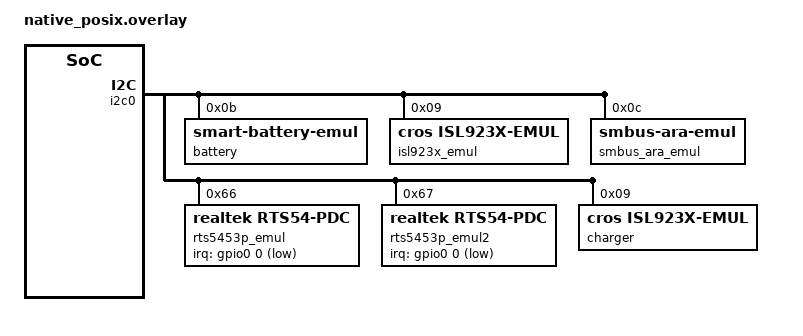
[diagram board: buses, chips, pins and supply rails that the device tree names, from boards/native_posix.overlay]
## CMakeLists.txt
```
# Copyright 2024 The ChromiumOS Authors
# Use of this source code is governed by a BSD-style license that can be
# found in the LICENSE file.

cmake_minimum_required(VERSION 3.13.1)
find_package(Zephyr REQUIRED HINTS "${ZEPHYR_BASE}")
project(pdc)

# Include FFF fakes
add_subdirectory(${PLATFORM_EC}/zephyr/test/test_utils test_utils)

zephyr_include_directories(include)

target_sources(app PRIVATE src/main.c)
target_sources(app PRIVATE src/fakes.c)

target_sources_ifdef(CONFIG_TEST_PDC_MESSAGE_TRACING  app PRIVATE
	src/util_pcap.c
	src/pdc_trace_msg.c)

if (DEFINED CONFIG_TEST_SUITE_PDC_API)
	target_sources(app PRIVATE src/generic/pdc_api.c)
endif()

if (DEFINED CONFIG_TEST_SUITE_PDC_GENERIC)
	target_sources(app PRIVATE src/generic/pdc_attached_snk.c)
	target_sources(app PRIVATE src/generic/pdc_power_mgmt_api.c)
	target_sources(app PRIVATE src/generic/pdc_pmc_debug_api.c)
	target_sources_ifdef(CONFIG_PDC_RUNTIME_PORT_CONFIG
		app PRIVATE src/board_runtime_config.c)
endif()

if (DEFINED CONFIG_TEST_SUITE_PDC_UTILS)
	target_sources(app PRIVATE src/generic/usb_utils.c)
endif()

if (DEFINED CONFIG_TEST_SUITE_PDC_POLICY)
	target_sources(app PRIVATE src/pdc_policy/src_policy.c)
	target_sources(app PRIVATE src/pdc_policy/non_pd_policy.c)
	target_sources(app PRIVATE src/pdc_policy/select_best_pdo.c)
endif()

if (DEFINED CONFIG_TEST_SUITE_PDC_POLICY_SINK)
	target_sources(app PRIVATE src/pdc_policy/sink_policy.c)
endif()

if (DEFINED CONFIG_TEST_SUITE_PDC_BATTERY_STATUS)
	target_sources(app PRIVATE src/generic/pdc_battery_status.c)
endif()

if (DEFINED CONFIG_TEST_PDC_POLICY_DEAD_BATTERY_TWO_CHARGERS)
	target_sources(app PRIVATE src/pdc_policy/dead_battery_policy.c)
	target_sources(app PRIVATE src/pdc_policy/dead_battery_two_chargers.c)
endif()

if (DEFINED CONFIG_TEST_PDC_POLICY_DEAD_BATTERY_AC_ONLY_AP_ON)
	target_sources(app PRIVATE src/pdc_policy/dead_battery_policy.c)
	target_sources(app PRIVATE src/pdc_policy/dead_battery_ac_only_ap_on.c)
endif()

if (DEFINED CONFIG_TEST_PDC_POLICY_DEAD_BATTERY_AC_ONLY_AP_OFF)
	target_sources(app PRIVATE src/pdc_policy/dead_battery_policy.c)
	target_sources(app PRIVATE src/pdc_policy/dead_battery_ac_only_ap_off.c)
endif()

if (DEFINED CONFIG_TEST_SUITE_PDC_POLICY_CLAMPED)
	target_sources(app PRIVATE src/pdc_policy/select_best_pdo_clamped.c)
endif()

if (DEFINED CONFIG_TEST_SUITE_PDC_POLICY_VARIABLE)
	target_sources(app PRIVATE src/pdc_policy/select_best_pdo_variable.c)
endif()

if (DEFINED CONFIG_TEST_SUITE_PDC_API_NULL_CHECK)
	target_sources(app PRIVATE src/generic/pdc_null_api.c)
endif()

if (DEFINED CONFIG_TEST_SUITE_PDC_DEVICE_NOT_READY)
	target_sources(app PRIVATE src/generic/device_not_ready.c)
endif()

if (DEFINED CONFIG_TEST_SUITE_PDC_RTS54XX)
	target_sources(app PRIVATE src/rts54xx/rts54xx.c)
endif()

if (DEFINED CONFIG_TEST_SUITE_PDC_TPS6699X)
	zephyr_include_directories(${PLATFORM_EC}/zephyr/drivers/usbc)
	target_sources(app PRIVATE src/tps6699x/tps6699x.c)
endif()

if (DEFINED CONFIG_TEST_SUITE_PDC_RETIMER_FW_UPDATE)
	target_sources(app PRIVATE src/generic/retimer_fw_update.c)
endif()

if (DEFINED CONFIG_TEST_SUITE_PDC_CONSOLE)
	target_sources(app PRIVATE src/generic/pdc_console.c)
	target_sources(app PRIVATE src/mock_pdc_power_mgmt.c)
endif()

if (DEFINED CONFIG_TEST_SUITE_PDC_HOSTCMD)
	target_sources(app PRIVATE src/generic/pdc_host_cmd.c)
	target_sources(app PRIVATE src/mock_pdc_power_mgmt.c)
endif()

if (DEFINED CONFIG_TEST_SUITE_UCSI_HOSTCMD)
	target_sources(app PRIVATE src/generic/ucsi_host_cmd.c)
	target_sources(app PRIVATE ${PLATFORM_EC}/zephyr/subsys/ucsi/ucsi_host_cmd.c)
endif()

if (DEFINED CONFIG_TEST_SUITE_PPM)
	zephyr_include_directories(${PLATFORM_EC}/zephyr/subsys/ucsi)
	target_sources(app PRIVATE src/generic/ppm.c)
	target_sources_ifdef(CONFIG_PDC_RUNTIME_PORT_CONFIG
		app PRIVATE src/board_runtime_config.c)
endif()

if (DEFINED CONFIG_TEST_SUITE_PPM_CONSOLE)
	target_sources(app PRIVATE ${PLATFORM_EC}/zephyr/subsys/ucsi/ppm_console.c)
	target_sources(app PRIVATE src/generic/ppm_console.c)
endif()

if (DEFINED CONFIG_TEST_SUITE_PDC_PMC_USB_MUX)
	target_sources(app PRIVATE src/generic/pdc_pmc_usb_mux.c)
endif()

if (DEFINED CONFIG_TEST_SUITE_PPM_DRIVER)
	target_sources(app PRIVATE src/generic/ppm_driver.c)
	target_sources(app PRIVATE ${PLATFORM_EC}/zephyr/subsys/ucsi/ppm_driver.c)
endif()

if (DEFINED CONFIG_TEST_SUITE_PDC_UCSI)
	target_sources(app PRIVATE src/ucsi/ucsi.c)
endif()

if (DEFINED CONFIG_TEST_SUITE_PPM_STATE_MACHINE)
	target_sources(app PRIVATE src/generic/ppm_state_machine.c)

	zephyr_include_directories(${PLATFORM_EC}/zephyr/subsys/ucsi)
	target_sources(app PRIVATE ${PLATFORM_EC}/zephyr/subsys/ucsi/ppm_common.c)
endif()

if (DEFINED CONFIG_TEST_SUITE_PDC_TRACE_MSG)
	target_sources(app PRIVATE src/generic/pdc_trace_msg.c)
endif()

if (DEFINED CONFIG_TEST_SUITE_PDC_RUNTIME_PORT_CONFIG)
	target_sources_ifdef(CONFIG_TEST_PDC_RUNTIME_CONFIG_SCENARIO_NO_PDCS
		app PRIVATE src/runtime_config/no_pdcs.c)
	target_sources_ifdef(CONFIG_TEST_PDC_RUNTIME_CONFIG_SCENARIO_ONE_PDC
		app PRIVATE src/runtime_config/one_pdc.c)
	target_sources_ifdef(CONFIG_TEST_PDC_RUNTIME_CONFIG_SCENARIO_DISCONT
		app PRIVATE src/runtime_config/discontiguous.c)
	target_sources_ifdef(CONFIG_TEST_PDC_RUNTIME_CONFIG_SCENARIO_TWO_PDCS
		app PRIVATE src/runtime_config/two_pdcs.c)
endif()
```

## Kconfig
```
# Copyright 2024 The ChromiumOS Authors
# Use of this source code is governed by a BSD-style license that can be
# found in the LICENSE file.

config TEST_SUITE_PDC_API
	bool "Enable generic PDC driver API tests"

config TEST_SUITE_PDC_GENERIC
	bool "Enable generic pdc_power_mgmt tests"

config TEST_SUITE_PDC_UTILS
	bool "Enable PDC utility tests"

config TEST_SUITE_PDC_API_NULL_CHECK
	bool "Enable PDC API null-protection checks"

config TEST_SUITE_PDC_DEVICE_NOT_READY
	bool "Enable PDC subsystem tests for device-not-ready"

config TEST_SUITE_PDC_POLICY
	bool "Enable PDC policy tests"

config TEST_SUITE_PDC_POLICY_SINK
	bool "Enable PDC policy sink tests"

config TEST_SUITE_PDC_BATTERY_STATUS
  bool "Enable PDC battery status tests"

config TEST_SUITE_PDC_POLICY_DEAD_BATTERY
	bool "Enable PDC Dead Battery policy tests"

config TEST_PDC_POLICY_DEAD_BATTERY_TWO_CHARGERS
	select TEST_SUITE_PDC_POLICY_DEAD_BATTERY
	bool "Validate dead battery with two connected chargers"

config TEST_PDC_POLICY_DEAD_BATTERY_AC_ONLY_AP_ON
	select TEST_SUITE_PDC_POLICY_DEAD_BATTERY
	bool "Validate dead battery with AC connected, no battery, and AP on"

config TEST_PDC_POLICY_DEAD_BATTERY_AC_ONLY_AP_OFF
	select TEST_SUITE_PDC_POLICY_DEAD_BATTERY
	bool "Validate dead battery with AC connected, no battery, and AP off"

config TEST_SUITE_PDC_POLICY_CLAMPED
	bool "Enable PDC policy tests with clamped power"

config TEST_SUITE_PDC_POLICY_VARIABLE
	bool "Enable PDC policy tests to verify variabled PDOs"

config TEST_SUITE_PDC_PMC_USB_MUX
	bool "Enable PDC PMC USB mux tests"

config TEST_SUITE_PDC_RTS54XX
	bool "Enable RTS54xx PDC tests"

config TEST_SUITE_PDC_TPS6699X
	bool "Enable TPS6699x PDC tests"

config TODO_B_345292002
	bool "Disable tests that fail for TPS6699x PDC config"
	help
	  Enable this config for pdc.generic.tps6699x to disable tests that
	  currently fail. As b/345292002 progresses, the amount of code
	  protected by this config should go down.

config TEST_SUITE_PDC_RETIMER_FW_UPDATE
	bool "Enable retimer FW update tests"

config TEST_SUITE_PDC_CONSOLE
	bool "Enable pdc console command tests"

config TEST_SUITE_PDC_HOSTCMD
	bool "Enable PDC host command tests"

config TEST_SUITE_UCSI_HOSTCMD
	bool "Enable UCSI host command tests"

config TEST_SUITE_PPM
	bool "Enable UCSI PPM tests"
	help
	  Enable tests for the PPM of the UCSI. This suite tests our PPM from
	  the perspective of the UCSI spec. All layers use the actual code
	  (ppm_common, ppm_driver, pdc_driver) and mocking is discouraged.
	  Inputs to the tests are controlled through a PDC emulator.

config TEST_SUITE_PPM_CONSOLE
	bool "Enable tests for the `ppm` console command"
	help
	  Run a test suite covering the `ppm` console command, which sends
	  various UCSI commands from the EC console for testing and debugging
	  purposes.

config TEST_SUITE_PPM_DRIVER
	bool "Enable PPM driver tests"
	help
	  Enable tests for the lower layer (ppm_driver) of the PPM. This suite
	  exercises the behaviors specific to the implementation. Mocking the
	  upper layer (ppm_common) and lower layer (pdc driver) is used to cover
	  corner cases.

config TEST_SUITE_PDC_UCSI
	bool "Enable UCSI tests"

config TEST_SUITE_PPM_STATE_MACHINE
	bool "Enable PPM state machine tests"
	help
	  Enable tests for the state machine (ppm_common) of the PPM.

config TEST_PDC_MESSAGE_TRACING
	bool "Enable PDC message tracing"
	help
	  Capture PDC messages between the EC and the PDC chip. These
	  can be standard UCSI messages or vendor specific messages such
	  as those defined for the rts54xx chip. Message data is
	  reported in the test run logs and in a separate "rts.pcap"
	  file in PCAP capture file format.

config TEST_SUITE_PDC_TRACE_MSG
	bool "Enable PDC message tracing tests"
	depends on !TEST_PDC_MESSAGE_TRACING
	help
	  No help.

	  These tests are incompatible with TEST_PDC_MESSAGE_TRACING
	  since that config enables an alternate implementation of the
	  code to be tested here.

config TEST_DISABLE_INLINE_CHIPSET_IN_STATE
	bool "Disable chipset_in_state inline method"
	help
	  This is used to not define chipset_in_state method as inline
	  function.

config TEST_SUITE_PDC_RUNTIME_PORT_CONFIG
	bool "Enable PDC runtime port config tests"
	help
	  Run tests for the runtime USB-C port configuration feature

config TEST_SKIP_EC_APP_MAIN
	bool "Skip running ec_app_main()"
	help
	  Some tests intentionally create errors, like incorrect
	  initialization order, and verify the error handling paths.
	  The ec_app_main() is broken in these cases.

choice TEST_PDC_RUNTIME_CONFIG_SCENARIO
	prompt "Select a PDC topology to set up at runtime"
	depends on TEST_SUITE_PDC_RUNTIME_PORT_CONFIG

config TEST_PDC_RUNTIME_CONFIG_SCENARIO_NO_PDCS
	bool "Cause an error while reading board PDC config"
	help
	  Return an error from `board_get_pdc_for_port()`, causing no PDCs to be
	  initialized.

config TEST_PDC_RUNTIME_CONFIG_SCENARIO_ONE_PDC
	bool "Enable C0 but not C1"
	help
	  Activate one of two ports from `board_get_pdc_for_port()`

config TEST_PDC_RUNTIME_CONFIG_SCENARIO_DISCONT
	bool "Disable C0 but enable C1"
	help
	  Activate only the second port from `board_get_pdc_for_port()`

config TEST_PDC_RUNTIME_CONFIG_SCENARIO_TWO_PDCS
	bool "Enable C0 and enable C1"
	help
	  Activate both ports from `board_get_pdc_for_port()`

endchoice

config TEST_PDC_DISABLE_C1
	bool "Don't initialize port C1"
	depends on PDC_RUNTIME_PORT_CONFIG
	help
	  Use this when testing runtime port configuration to enable only one
	  of the two PDC ports.

config TEST_SNIFF_POWER_MGMT_PDC_APIS
	bool "Enable PDC sniffing APIs in pdc_power_mgmt for tests"
	help
	  This is used to allow tests to create sniffing PDC APIs in
	  pdc_power_mgmt.c that can be mocked in tests.

source "Kconfig.zephyr"
```

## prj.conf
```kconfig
# Copyright 2024 The ChromiumOS Authors
# Use of this source code is governed by a BSD-style license that can be
# found in the LICENSE file.

CONFIG_ZTEST=y

# Basic EC functions
CONFIG_SHIMMED_TASKS=y
CONFIG_CROS_EC=y
CONFIG_PLATFORM_EC=y
CONFIG_PLATFORM_EC_HOOKS=y
CONFIG_PLATFORM_EC_HOSTCMD=y

# Disable CONFIG_PLATFORM_EC_DEBUG_ASSERT to avoid
# assert_post_action conflict
CONFIG_PLATFORM_EC_DEBUG_ASSERT=n

# Console
CONFIG_SHELL_BACKEND_DUMMY=y
CONFIG_SHELL_BACKEND_DUMMY_BUF_SIZE=1000
CONFIG_SHELL_BACKEND_SERIAL=n
CONFIG_SERIAL=y
CONFIG_RING_BUFFER=y

# Logging is configured to send output to the shell, disable
# the UART backed to prevent duplicate messages in the output.
CONFIG_LOG_BACKEND_UART=n

# Emulated PDC
CONFIG_EMUL=y

# Disable BC1.2
CONFIG_PLATFORM_EC_USB_CHARGER=n

CONFIG_PLATFORM_EC_CHARGER=y
CONFIG_PLATFORM_EC_CHARGER_SENSE_RESISTOR=10
CONFIG_PLATFORM_EC_CHARGER_SENSE_RESISTOR_AC=10
CONFIG_PLATFORM_EC_CHARGER_ISL9238=y

# Turn off other unneeded features
CONFIG_PLATFORM_EC_BACKLIGHT_LID=n
CONFIG_PLATFORM_EC_VBOOT_HASH=n
CONFIG_PLATFORM_EC_SWITCH=n
CONFIG_PLATFORM_EC_USBC_SS_MUX=n

# Disable [TCPMv2] Power Delivery Function
CONFIG_PLATFORM_EC_USB_POWER_DELIVERY=n
CONFIG_PLATFORM_EC_USBC_PPC=n
CONFIG_PLATFORM_EC_USB_PD_PPC=n
CONFIG_PLATFORM_EC_HOSTCMD_PD_CONTROL=n
CONFIG_PLATFORM_EC_HOSTCMD_RWHASHPD=n

# Disable typec host commands until a PDC counterpart exists.
CONFIG_PLATFORM_EC_HOSTCMD_TYPEC_DISCOVERY=n
CONFIG_PLATFORM_EC_HOSTCMD_TYPEC_CONTROL=n
CONFIG_PLATFORM_EC_HOSTCMD_TYPEC_STATUS=n
CONFIG_PLATFORM_EC_HOSTCMD_PD_CHIP_INFO=n

# Use PD Controller
CONFIG_PLATFORM_EC_USBC=y
CONFIG_PLATFORM_EC_USB_PD_CONTROLLER=y
CONFIG_PLATFORM_EC_USB_PD_VBUS_MEASURE_NOT_PRESENT=y
CONFIG_PLATFORM_EC_USB_PD_DISCHARGE=n

# Test PDC-driven CCD
CONFIG_USBC_PDC_DRIVEN_CCD=y

# Allow more time in unit tests for the PDC Power Mgmt state machine to reach
# a steady state. TODO(b/372259212): Investigate what's holding up the sequence
CONFIG_PDC_POWER_MGMT_STATE_MACHINE_SETTLED_TIMEOUT_MS=2500

# Charger
CONFIG_PLATFORM_EC_BATTERY_FUEL_GAUGE=y
CONFIG_PLATFORM_EC_CHARGER_ISL9238=y
CONFIG_PLATFORM_EC_CHARGER_SENSE_RESISTOR=10
CONFIG_PLATFORM_EC_CHARGER_SENSE_RESISTOR_AC=20
CONFIG_PLATFORM_EC_CHARGER_MIN_POWER_MW_FOR_POWER_ON=30000
CONFIG_PLATFORM_EC_CHARGER_MIN_POWER_MW_FOR_POWER_ON_WITH_BATT=15000

CONFIG_USB_PDC_POWER_MGMT=y

# Print logs from Zephyr LOG_MODULE to stdout
CONFIG_NATIVE_UART_0_ON_STDINOUT=y
CONFIG_LOG_BACKEND_SHOW_COLOR=n

CONFIG_PLATFORM_EC_USB_PD_VBUS_MEASURE_NOT_PRESENT=y
CONFIG_PDC_POWER_MGMT_SRC_PDO_PEAK_OCP_150=y
```

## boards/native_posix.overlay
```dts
/* Copyright 2024 The ChromiumOS Authors
 * Use of this source code is governed by a BSD-style license that can be
 * found in the LICENSE file.
 */

#include <board-overlays/native_posix.dts>
#include <it8xxx2_emul.dts>
#include <usbc-policy.dtsi>

/ {
	usbc {
		#address-cells = <1>;
		#size-cells = <0>;

		/* Configure just the DB port
		 */
		port0@0 {
			compatible = "named-pdc-port";
			reg = <0>;
			chg = <&charger>;
			pdc = <&rts5453p_emul>;
			chg = <&isl923x_emul>;
			policy = <&cros_policy>;
			pd-retimer;
			usb-mux-chain-0 {
				compatible = "cros-ec,usb-mux-chain";
				usb-muxes = <&virtual_mux_0>;
			};
		};

		port0-muxes {
			virtual_mux_0: virtual-mux-0 {
				compatible = "cros-ec,usbc-mux-virtual";
			};
		};

		port1@0 {
			compatible = "named-pdc-port";
			reg = <1>;
			pdc = <&rts5453p_emul2>;
			policy = <&cros_policy>;
			pd-retimer;
			usb-mux-chain-1 {
				compatible = "cros-ec,usb-mux-chain";
				usb-muxes = <&virtual_mux_1>;
			};
		};

		port1-muxes {
			virtual_mux_1: virtual-mux-1 {
				compatible = "cros-ec,usbc-mux-virtual";
			};
		};
	};

	batteries {
		default_battery: lgc_ac17a8m {
			compatible = "lgc,ac17a8m", "battery-smart";
		};
	};

	named-i2c-ports {
		compatible = "named-i2c-ports";

		i2c_ec_i2c_usb_c0: ec_i2c_usb_c0 {
			i2c-port = <&i2c0>;
			enum-names = "I2C_PORT_USB_C0_TCPC";
		};

		i2c_ec_i2c_charger: ec_i2c_charger {
			i2c-port = <&i2c0>;
			enum-names = "I2C_PORT_BATTERY";
		};
	};

};

&i2c0 {
	battery: sb@b {
		compatible = "zephyr,smart-battery-emul";
		reg = <0xb>;
		cycle-count = <6>;
		version = "BATTERY_SPEC_VER_1_1_WITH_PEC";
		desired-charg-volt = <11250>;
		desired-charg-cur = <2400>;
		mf-name = "LGC";
		dev-name = "AP18C8K";
	};

	isl923x_emul: isl923x@9 {
		compatible = "cros,isl923x-emul";
		status = "okay";
		reg = <0x09>;
		battery = <&battery>;
	};

	smbus_ara_emul: smbus_ara@c {
		compatible = "zephyr,smbus-ara-emul";
		reg = <0xc>;
		device-address = <0x66>;
	};

	rts5453p_emul: rts5453p@66 {
		compatible = "realtek,rts54-pdc";
		reg = <0x66>;
		irq-gpios = <&gpio0 0 GPIO_ACTIVE_LOW>;
	};

	rts5453p_emul2: rts5453p@67 {
		compatible = "realtek,rts54-pdc";
		reg = <0x67>;
		irq-gpios = <&gpio0 0 GPIO_ACTIVE_LOW>;
	};

	charger: isl9238@9 {
		compatible = "cros,isl923x-emul";
		status = "okay";
		reg = <0x9>;
		battery = <&battery>;
	};
};
```

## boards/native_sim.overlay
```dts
/* Copyright 2024 The ChromiumOS Authors
 * Use of this source code is governed by a BSD-style license that can be
 * found in the LICENSE file.
 */

#include <board-overlays/native_sim.dts>
#include <it8xxx2_emul.dts>
#include <usbc-policy.dtsi>

/ {
	usbc {
		#address-cells = <1>;
		#size-cells = <0>;

		/* Configure just the DB port
		 */
		usbc0: port0@0 {
			compatible = "named-usbc-port";
			reg = <0>;
			chg = <&charger>;
			pdc = <&pdc_emul1>;
			chg = <&isl923x_emul>;
			policy = <&cros_policy>;
			pd-retimer;
			usb-mux-chain-0 {
				compatible = "cros-ec,usb-mux-chain";
				usb-muxes = <&virtual_mux_0>;
			};
		};

		port0-muxes {
			virtual_mux_0: virtual-mux-0 {
				compatible = "cros-ec,usbc-mux-virtual";
			};
		};

		usbc1: port1@1 {
			compatible = "named-usbc-port";
			ccd;
			reg = <1>;
			pdc = <&pdc_emul2>;
			policy = <&cros_policy>;
			pd-retimer;
			usb-mux-chain-1 {
				compatible = "cros-ec,usb-mux-chain";
				usb-muxes = <&virtual_mux_1>;
			};
		};

		port1-muxes {
			virtual_mux_1: virtual-mux-1 {
				compatible = "cros-ec,usbc-mux-virtual";
			};
		};

		ppm_driver_nodelabel: ppm-driver {
			compatible = "ucsi-ppm";
		};
	};

	batteries {
		default_battery: lgc_ac17a8m {
			compatible = "lgc,ac17a8m", "battery-smart";
		};
	};

	named-i2c-ports {
		compatible = "named-i2c-ports";

		i2c_ec_i2c_usb_c0: ec_i2c_usb_c0 {
			i2c-port = <&i2c0>;
			enum-names = "I2C_PORT_USB_C0_TCPC";
		};

		i2c_ec_i2c_charger: ec_i2c_charger {
			i2c-port = <&i2c0>;
			enum-names = "I2C_PORT_BATTERY";
		};
	};

};

&i2c0 {
	battery: sb@b {
		compatible = "zephyr,smart-battery-emul";
		reg = <0xb>;
		cycle-count = <6>;
		version = "BATTERY_SPEC_VER_1_1_WITH_PEC";
		desired-charg-volt = <11250>;
		desired-charg-cur = <2400>;
		mf-name = "LGC";
		dev-name = "AP18C8K";
	};

	isl923x_emul: isl923x@9 {
		compatible = "cros,isl923x-emul";
		status = "okay";
		reg = <0x09>;
		battery = <&battery>;
	};

	smbus_ara_emul: smbus_ara@c {
		compatible = "zephyr,smbus-ara-emul";
		reg = <0xc>;
	};

	charger: isl9238@9 {
		compatible = "cros,isl923x-emul";
		status = "okay";
		reg = <0x9>;
		battery = <&battery>;
	};
};
```

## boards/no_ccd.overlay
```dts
/* Copyright 2025 The ChromiumOS Authors
 * Use of this source code is governed by a BSD-style license that can be
 * found in the LICENSE file.
 */

/* Remove the CCD port properties to test cases where they are missing */

&usbc1 {
    /delete-property/ ccd;
};
```

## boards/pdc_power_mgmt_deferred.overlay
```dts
/* Copyright 2025 The ChromiumOS Authors
 * Use of this source code is governed by a BSD-style license that can be
 * found in the LICENSE file.
 */

&usbc0 {
	zephyr,deferred-init;
};

&usbc1 {
	zephyr,deferred-init;
};
```

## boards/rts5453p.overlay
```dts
/* Copyright 2024 The ChromiumOS Authors
 * Use of this source code is governed by a BSD-style license that can be
 * found in the LICENSE file.
 */

#include <board-overlays/native_sim.dts>

&i2c0 {
	rts5453p_emul: rts5453p@66 {
		compatible = "realtek,rts54-pdc";
		status = "okay";
		reg = <0x66>;
		irq-gpios = <&gpio0 0 GPIO_ACTIVE_LOW>;
	};

	rts5453p_emul2: rts5453p@67 {
		compatible = "realtek,rts54-pdc";
		status = "okay";
		reg = <0x67>;
		irq-gpios = <&gpio0 0 GPIO_ACTIVE_LOW>;
	};
 };
```

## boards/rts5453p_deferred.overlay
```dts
/* Copyright 2024 The ChromiumOS Authors
 * Use of this source code is governed by a BSD-style license that can be
 * found in the LICENSE file.
 */

#include "native_sim.overlay"

/* The realtek,rts54-pdc nodes are deferred-init to cause device_is_ready() to
 * return false and named-usbc-port init to fail. The named-usbc-port nodes are
 * deferred init to allow a test to initialize these devices directly and
 * inspect the results.
 */

&i2c0 {
	pdc_emul1: rts5453p@66 {
		compatible = "realtek,rts54-pdc";
		status = "okay";
		reg = <0x66>;
		irq-gpios = <&gpio0 0 GPIO_ACTIVE_LOW>;
	};

	pdc_emul2: rts5453p@67 {
		compatible = "realtek,rts54-pdc";
		status = "okay";
		reg = <0x67>;
		irq-gpios = <&gpio0 0 GPIO_ACTIVE_LOW>;
		zephyr,deferred-init;
	};
};
```

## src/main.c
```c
/* Copyright 2024 The ChromiumOS Authors
 * Use of this source code is governed by a BSD-style license that can be
 * found in the LICENSE file.
 */

#include "ec_app_main.h"
#include "hooks.h"

#include <zephyr/kernel.h>
#include <zephyr/ztest.h>
#include <zephyr/ztest_error_hook.h>

void test_main(void)
{
	ec_app_main();

	k_sleep(K_MSEC(1000));

	/* Run all the suites that depend on main being called */
	ztest_run_test_suites(NULL, false, 1, 1);

	/* Check that every suite ran */
	ztest_verify_all_test_suites_ran();
}
```

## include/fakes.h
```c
/* Copyright 2025 The ChromiumOS Authors
 * Use of this source code is governed by a BSD-style license that can be
 * found in the LICENSE file.
 */

#include "battery.h"

#include <zephyr/fff.h>

DECLARE_FAKE_VALUE_FUNC(int, battery_design_voltage, int *);
DECLARE_FAKE_VALUE_FUNC(int, battery_remaining_capacity, int *);
DECLARE_FAKE_VALUE_FUNC(int, battery_status, int *);
DECLARE_FAKE_VALUE_FUNC(int, battery_design_capacity, int *);
DECLARE_FAKE_VALUE_FUNC(int, battery_full_charge_capacity, int *);

void set_battery_present(enum battery_present bp);

int battery_design_voltage_custom_fake(int *voltage);
int battery_remaining_capacity_custom_fake(int *capacity);
int battery_status_custom_fake(int *status);
int battery_design_capacity_custom_fake(int *design_capacity);
int battery_full_charge_capacity_custom_fake(int *full_charge_capacity);

void set_battery_design_voltage(int voltage);
void set_battery_remaining_capacity(int capacity);
void set_battery_status(int status);
void set_battery_design_capacity(int design_capacity);
void set_battery_full_charge_capacity(int full_charge_capacity);
```

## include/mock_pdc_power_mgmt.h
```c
/* Copyright 2024 The ChromiumOS Authors
 * Use of this source code is governed by a BSD-style license that can be
 * found in the LICENSE file.
 */

#include "drivers/ucsi_v3.h"
#include "usbc/pdc_power_mgmt.h"

#include <zephyr/fff.h>

/* FFF fake declarations for select functions in `pdc_power_mgmt.c` */

DECLARE_FAKE_VALUE_FUNC(int, pdc_power_mgmt_connector_reset, int,
			enum connector_reset);
DECLARE_FAKE_VALUE_FUNC(int, pdc_power_mgmt_get_cable_prop, int,
			union cable_property_t *);
DECLARE_FAKE_VALUE_FUNC(int, pdc_power_mgmt_get_connector_status, int,
			union connector_status_t *);
DECLARE_FAKE_VALUE_FUNC(int, pdc_power_mgmt_get_info, int, struct pdc_info_t *,
			bool);
DECLARE_FAKE_VALUE_FUNC(bool, pdc_power_mgmt_get_partner_data_swap_capable,
			int);
DECLARE_FAKE_VALUE_FUNC(enum pd_power_role, pdc_power_mgmt_get_power_role, int);
DECLARE_FAKE_VALUE_FUNC(const char *, pdc_power_mgmt_get_task_state_name, int);
DECLARE_FAKE_VALUE_FUNC(bool, pdc_power_mgmt_is_connected, int);
DECLARE_FAKE_VALUE_FUNC(enum pd_data_role, pdc_power_mgmt_pd_get_data_role,
			int);
DECLARE_FAKE_VALUE_FUNC(enum tcpc_cc_polarity, pdc_power_mgmt_pd_get_polarity,
			int);
DECLARE_FAKE_VOID_FUNC(pdc_power_mgmt_request_data_swap, int);
DECLARE_FAKE_VOID_FUNC(pdc_power_mgmt_request_power_swap, int);
DECLARE_FAKE_VALUE_FUNC(int, pdc_power_mgmt_reset, int);
DECLARE_FAKE_VALUE_FUNC(int, pdc_power_mgmt_set_comms_state, bool);
DECLARE_FAKE_VOID_FUNC(pdc_power_mgmt_set_dual_role, int,
		       enum pd_dual_role_states);
DECLARE_FAKE_VALUE_FUNC(enum pd_dual_role_states, pdc_power_mgmt_get_dual_role,
			int);
DECLARE_FAKE_VALUE_FUNC(int, pdc_power_mgmt_set_trysrc, int, bool);
DECLARE_FAKE_VOID_FUNC(pdc_power_mgmt_request_source_voltage, int, int);
DECLARE_FAKE_VALUE_FUNC(unsigned int, pdc_power_mgmt_get_max_voltage);
DECLARE_FAKE_VALUE_FUNC(uint8_t, pdc_power_mgmt_get_src_cap_cnt, int);
DECLARE_FAKE_VALUE_FUNC(const uint32_t *const, pdc_power_mgmt_get_src_caps,
			int);
DECLARE_FAKE_VALUE_FUNC(int, pdc_power_mgmt_get_lpm_ppm_info, int,
			struct lpm_ppm_info_t *);
DECLARE_FAKE_VALUE_FUNC(bool, pdc_power_mgmt_check_hpd_wake, int);
DECLARE_FAKE_VALUE_FUNC(int, pdc_power_mgmt_get_pch_data_status, int,
			uint8_t *);
DECLARE_FAKE_VALUE_FUNC(int, pdc_power_mgmt_get_rdo, int, uint32_t *);
DECLARE_FAKE_VALUE_FUNC(int, pdc_power_mgmt_get_drp_mode, int,
			enum drp_mode_t *);
DECLARE_FAKE_VALUE_FUNC(bool, pdc_power_mgmt_get_vconn_state, int);
DECLARE_FAKE_VALUE_FUNC(int, pdc_power_mgmt_get_sbu_mux_mode,
			enum pdc_sbu_mux_mode *, int *);
DECLARE_FAKE_VALUE_FUNC(int, pdc_power_mgmt_set_sbu_mux_mode,
			enum pdc_sbu_mux_mode);
DECLARE_FAKE_VALUE_FUNC(int, pdc_power_mgmt_set_bbr_cts, int, bool);
DECLARE_FAKE_VALUE_FUNC(int, pdc_power_mgmt_set_ap_power_state,
			enum power_state);

/**
 * @brief Reset the above set of fakes
 */
void helper_reset_pdc_power_mgmt_fakes(void);
```

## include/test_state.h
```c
/* Copyright 2024 The ChromiumOS Authors
 * Use of this source code is governed by a BSD-style license that can be
 * found in the LICENSE file.
 */

#ifndef ZEPHYR_TEST_PDC_INCLUDE_TEST_STATE_H_
#define ZEPHYR_TEST_PDC_INCLUDE_TEST_STATE_H_

#include <stdbool.h>

struct test_state {
	bool ec_app_main_run;
};

bool predicate_pre_main(const void *state);

bool predicate_post_main(const void *state);

#endif /* ZEPHYR_TEST_PDC_INCLUDE_TEST_STATE_H_ */
```

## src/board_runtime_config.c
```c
/* Copyright 2025 The ChromiumOS Authors
 * Use of this source code is governed by a BSD-style license that can be
 * found in the LICENSE file.
 */

#include "usbc/pdc_runtime_port_config.h"

#include <errno.h>

#include <zephyr/device.h>

/** Supply pdc_power_mgmt with dynamic USB-C port configuration data */
int board_get_pdc_for_port(int port, const struct device **dev)
{
	switch (port) {
	case 0:
		*dev = DEVICE_DT_GET(DT_NODELABEL(pdc_emul1));
		return 0;
	case 1:
		/* Presence of port C1 can be controlled via a config option to
		 * test running the PDC subsystem with fewer than the maximum
		 * number of supported ports.
		 */
		*dev = IS_ENABLED(CONFIG_TEST_PDC_DISABLE_C1) ?
			       NULL :
			       DEVICE_DT_GET(DT_NODELABEL(pdc_emul2));
		return 0;
	}

	/* LCOV_EXCL_START - test fixture code */
	*dev = NULL;
	return -ERANGE;
	/* LCOV_EXCL_STOP */
}
```

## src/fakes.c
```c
/* Copyright 2024 The ChromiumOS Authors
 * Use of this source code is governed by a BSD-style license that can be
 * found in the LICENSE file.
 */

#include "battery.h"

static enum battery_present bp_val = BP_YES;
void set_battery_present(enum battery_present bp)
{
	bp_val = bp;
}

int battery_is_present(void)
{
	return bp_val;
}

int extpower_is_present(void)
{
	return 0;
}
```

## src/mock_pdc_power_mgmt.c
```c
/* Copyright 2024 The ChromiumOS Authors
 * Use of this source code is governed by a BSD-style license that can be
 * found in the LICENSE file.
 */

#include "mock_pdc_power_mgmt.h"
#include "usbc/pdc_power_mgmt.h"

#include <zephyr/fff.h>

/* FFF fake definitions for select functions in `pdc_power_mgmt.c` */

DEFINE_FAKE_VALUE_FUNC(int, pdc_power_mgmt_connector_reset, int,
		       enum connector_reset);
DEFINE_FAKE_VALUE_FUNC(int, pdc_power_mgmt_get_cable_prop, int,
		       union cable_property_t *);
DEFINE_FAKE_VALUE_FUNC(int, pdc_power_mgmt_get_connector_status, int,
		       union connector_status_t *);
DEFINE_FAKE_VALUE_FUNC(int, pdc_power_mgmt_get_info, int, struct pdc_info_t *,
		       bool);
DEFINE_FAKE_VALUE_FUNC(bool, pdc_power_mgmt_get_partner_data_swap_capable, int);
DEFINE_FAKE_VALUE_FUNC(enum pd_power_role, pdc_power_mgmt_get_power_role, int);
DEFINE_FAKE_VALUE_FUNC(const char *, pdc_power_mgmt_get_task_state_name, int);
DEFINE_FAKE_VALUE_FUNC(bool, pdc_power_mgmt_is_connected, int);
DEFINE_FAKE_VALUE_FUNC(enum pd_data_role, pdc_power_mgmt_pd_get_data_role, int);
DEFINE_FAKE_VALUE_FUNC(enum tcpc_cc_polarity, pdc_power_mgmt_pd_get_polarity,
		       int);
DEFINE_FAKE_VOID_FUNC(pdc_power_mgmt_request_data_swap, int);
DEFINE_FAKE_VOID_FUNC(pdc_power_mgmt_request_power_swap, int);
DEFINE_FAKE_VALUE_FUNC(int, pdc_power_mgmt_reset, int);
DEFINE_FAKE_VALUE_FUNC(int, pdc_power_mgmt_set_comms_state, bool);
DEFINE_FAKE_VOID_FUNC(pdc_power_mgmt_set_dual_role, int,
		      enum pd_dual_role_states);
DEFINE_FAKE_VALUE_FUNC(enum pd_dual_role_states, pdc_power_mgmt_get_dual_role,
		       int);
DEFINE_FAKE_VALUE_FUNC(int, pdc_power_mgmt_set_trysrc, int, bool);
DEFINE_FAKE_VOID_FUNC(pdc_power_mgmt_request_source_voltage, int, int);
DEFINE_FAKE_VALUE_FUNC(unsigned int, pdc_power_mgmt_get_max_voltage);
DEFINE_FAKE_VALUE_FUNC(uint8_t, pdc_power_mgmt_get_src_cap_cnt, int);
DEFINE_FAKE_VALUE_FUNC(const uint32_t *const, pdc_power_mgmt_get_src_caps, int);
DEFINE_FAKE_VALUE_FUNC(int, pdc_power_mgmt_get_lpm_ppm_info, int,
		       struct lpm_ppm_info_t *);
DEFINE_FAKE_VALUE_FUNC(bool, pdc_power_mgmt_check_hpd_wake, int);
DEFINE_FAKE_VALUE_FUNC(int, pdc_power_mgmt_get_pch_data_status, int, uint8_t *);
DEFINE_FAKE_VALUE_FUNC(int, pdc_power_mgmt_get_rdo, int, uint32_t *);
DEFINE_FAKE_VALUE_FUNC(int, pdc_power_mgmt_get_drp_mode, int,
		       enum drp_mode_t *);
DEFINE_FAKE_VALUE_FUNC(bool, pdc_power_mgmt_get_vconn_state, int);
DEFINE_FAKE_VALUE_FUNC(int, pdc_power_mgmt_get_sbu_mux_mode,
		       enum pdc_sbu_mux_mode *, int *);
DEFINE_FAKE_VALUE_FUNC(int, pdc_power_mgmt_set_sbu_mux_mode,
		       enum pdc_sbu_mux_mode);
DEFINE_FAKE_VALUE_FUNC(int, pdc_power_mgmt_set_bbr_cts, int, bool);
DEFINE_FAKE_VALUE_FUNC(int, pdc_power_mgmt_set_ap_power_state,
		       enum power_state);

void helper_reset_pdc_power_mgmt_fakes(void)
{
	RESET_FAKE(pdc_power_mgmt_connector_reset);
	RESET_FAKE(pdc_power_mgmt_get_cable_prop);
	RESET_FAKE(pdc_power_mgmt_get_connector_status);
	RESET_FAKE(pdc_power_mgmt_get_info);
	RESET_FAKE(pdc_power_mgmt_get_partner_data_swap_capable);
	RESET_FAKE(pdc_power_mgmt_get_power_role);
	RESET_FAKE(pdc_power_mgmt_get_task_state_name);
	RESET_FAKE(pdc_power_mgmt_is_connected);
	RESET_FAKE(pdc_power_mgmt_pd_get_data_role);
	RESET_FAKE(pdc_power_mgmt_pd_get_polarity);
	RESET_FAKE(pdc_power_mgmt_request_data_swap);
	RESET_FAKE(pdc_power_mgmt_request_power_swap);
	RESET_FAKE(pdc_power_mgmt_reset);
	RESET_FAKE(pdc_power_mgmt_set_comms_state);
	RESET_FAKE(pdc_power_mgmt_set_dual_role);
	RESET_FAKE(pdc_power_mgmt_set_trysrc);
	RESET_FAKE(pdc_power_mgmt_request_source_voltage);
	RESET_FAKE(pdc_power_mgmt_get_max_voltage);
	RESET_FAKE(pdc_power_mgmt_get_src_cap_cnt);
	RESET_FAKE(pdc_power_mgmt_get_src_caps);
	RESET_FAKE(pdc_power_mgmt_get_lpm_ppm_info);
	RESET_FAKE(pdc_power_mgmt_check_hpd_wake);
	RESET_FAKE(pdc_power_mgmt_get_pch_data_status);
	RESET_FAKE(pdc_power_mgmt_get_rdo);
	RESET_FAKE(pdc_power_mgmt_get_drp_mode);
	RESET_FAKE(pdc_power_mgmt_get_vconn_state);
	RESET_FAKE(pdc_power_mgmt_get_sbu_mux_mode);
	RESET_FAKE(pdc_power_mgmt_set_sbu_mux_mode);
	RESET_FAKE(pdc_power_mgmt_set_bbr_cts);
	RESET_FAKE(pdc_power_mgmt_set_ap_power_state);
}
```

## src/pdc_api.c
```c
/* Copyright 2024 The ChromiumOS Authors
 * Use of this source code is governed by a BSD-style license that can be
 * found in the LICENSE file.
 */

#include "battery.h"
#include "common.h"
#include "console.h"
#include "drivers/pdc.h"
#include "drivers/ucsi_v3.h"
#include "emul/emul_common_i2c.h"
#include "emul/emul_pdc.h"
#include "emul/emul_realtek_rts54xx.h"
#include "i2c.h"
#include "zephyr/sys/util.h"
#include "zephyr/sys/util_macro.h"

#include <zephyr/device.h>
#include <zephyr/devicetree.h>
#include <zephyr/drivers/emul.h>
#include <zephyr/fff.h>
#include <zephyr/kernel.h>
#include <zephyr/ztest.h>

LOG_MODULE_REGISTER(test_pdc_api, LOG_LEVEL_INF);

#define RTS5453P_NODE DT_NODELABEL(rts5453p_emul)
#define EMUL_DATA rts5453p_emul_get_i2c_common_data(EMUL)

const struct emul *emul = EMUL_DT_GET(RTS5453P_NODE);
const struct device *dev = DEVICE_DT_GET(RTS5453P_NODE);

void pdc_before_test(void *data)
{
	emul_pdc_set_response_delay(emul, 0);
}

ZTEST_SUITE(pdc_api, NULL, NULL, pdc_before_test, NULL, NULL);

ZTEST_USER(pdc_api, test_get_ucsi_version)
{
	uint16_t version = 0;

	zassert_not_ok(pdc_get_ucsi_version(dev, NULL));

	zassert_ok(pdc_get_ucsi_version(dev, &version));
	zassert_equal(version, UCSI_VERSION);
}

ZTEST_USER(pdc_api, test_reset)
{
	zassert_ok(pdc_reset(dev), "Failed to reset PDC");

	k_sleep(K_MSEC(500));
}

ZTEST_USER(pdc_api, test_connector_reset)
{
	enum connector_reset_t type = 0;

	emul_pdc_set_response_delay(emul, 50);
	zassert_ok(pdc_connector_reset(dev, PD_HARD_RESET),
		   "Failed to reset connector");

	k_sleep(K_MSEC(5));
	emul_pdc_get_connector_reset(emul, &type);
	zassert_not_equal(type, PD_HARD_RESET);

	k_sleep(K_MSEC(100));
	emul_pdc_get_connector_reset(emul, &type);
	zassert_equal(type, PD_HARD_RESET);
}

ZTEST_USER(pdc_api, test_get_capability)
{
	struct capability_t in, out;

	in.bcdBCVersion = 0x12;
	in.bcdPDVersion = 0x34;
	in.bcdUSBTypeCVersion = 0x56;

	zassert_ok(emul_pdc_set_capability(emul, &in));

	zassert_ok(pdc_get_capability(dev, &out), "Failed to get capability");

	k_sleep(K_MSEC(500));

	/* Verify versioning from emulator */
	zassert_equal(out.bcdBCVersion, in.bcdBCVersion);
	zassert_equal(out.bcdPDVersion, in.bcdPDVersion);
	zassert_equal(out.bcdUSBTypeCVersion, in.bcdUSBTypeCVersion);
}

ZTEST_USER(pdc_api, test_get_connector_capability)
{
	union connector_capability_t in, out;

	in.op_mode_rp_only = 1;
	in.op_mode_rd_only = 0;
	in.op_mode_usb2 = 1;
	zassert_ok(emul_pdc_set_connector_capability(emul, &in));

	zassert_ok(pdc_get_connector_capability(dev, &out),
		   "Failed to get connector capability");

	k_sleep(K_MSEC(100));

	/* Verify data from emulator */
	zassert_equal(out.op_mode_rp_only, in.op_mode_rp_only);
	zassert_equal(out.op_mode_rd_only, in.op_mode_rd_only);
	zassert_equal(out.op_mode_usb2, in.op_mode_usb2);
}

ZTEST_USER(pdc_api, test_get_error_status)
{
	union error_status_t in, out;

	in.unrecognized_command = 1;
	in.contract_negotiation_failed = 0;
	in.invalid_command_specific_param = 1;
	zassert_ok(emul_pdc_set_error_status(emul, &in));

	zassert_ok(pdc_get_error_status(dev, &out),
		   "Failed to get connector capability");
	/* TODO(b/319730714) - back 2 back calls should provide EBUSY error but
	 * driver thread doesn't become active to move out of IDLE state.
	 * zassert_equal(pdc_get_error_status(dev, &out), -EBUSY);
	 */
	k_sleep(K_MSEC(100));

	/* Verify data from emulator */
	zassert_equal(out.unrecognized_command, in.unrecognized_command);
	zassert_equal(out.contract_negotiation_failed,
		      in.contract_negotiation_failed);
	zassert_equal(out.invalid_command_specific_param,
		      in.invalid_command_specific_param);

	zassert_equal(pdc_get_error_status(dev, NULL), -EINVAL);
}

ZTEST_USER(pdc_api, test_get_connector_status)
{
	struct connector_status_t in, out;

	in.conn_status_change_bits.external_supply_change = 1;
	in.conn_status_change_bits.connector_partner = 1;
	in.conn_status_change_bits.connect_change = 1;
	in.power_operation_mode = PD_OPERATION;
	in.connect_status = 1;
	in.power_direction = 0;
	in.conn_partner_flags = 1;
	in.conn_partner_type = UFP_ATTACHED;
	in.rdo = 0x01234567;

	zassert_ok(emul_pdc_set_connector_status(emul, &in));

	zassert_ok(pdc_get_connector_status(dev, &out),
		   "Failed to get connector capability");

	k_sleep(K_MSEC(100));

	/* Verify data from emulator */
	zassert_equal(out.conn_status_change_bits.external_supply_change,
		      in.conn_status_change_bits.external_supply_change);
	zassert_equal(out.conn_status_change_bits.connector_partner,
		      in.conn_status_change_bits.connector_partner);
	zassert_equal(out.conn_status_change_bits.connect_change,
		      in.conn_status_change_bits.connect_change);
	zassert_equal(out.power_operation_mode, in.power_operation_mode);
	zassert_equal(out.connect_status, in.connect_status);
	zassert_equal(out.power_direction, in.power_direction);
	zassert_equal(out.conn_partner_flags, in.conn_partner_flags,
		      "out=0x%X != in=0x%X", out.conn_partner_flags,
		      in.conn_partner_flags);
	zassert_equal(out.conn_partner_type, in.conn_partner_type);
	zassert_equal(out.rdo, in.rdo);
}

ZTEST_USER(pdc_api, test_set_uor)
{
	union uor_t in, out;

	in.accept_dr_swap = 1;
	in.swap_to_ufp = 1;

	zassert_ok(pdc_set_uor(dev, in), "Failed to set uor");

	k_sleep(K_MSEC(100));
	zassert_ok(emul_pdc_get_uor(emul, &out));

	zassert_equal(out.raw_value, in.raw_value);
}

ZTEST_USER(pdc_api, test_set_pdr)
{
	union pdr_t in, out;

	in.accept_pr_swap = 1;
	in.swap_to_src = 1;

	zassert_ok(pdc_set_pdr(dev, in), "Failed to set pdr");

	k_sleep(K_MSEC(100));
	zassert_ok(emul_pdc_get_pdr(emul, &out));

	zassert_equal(out.raw_value, in.raw_value);
}

ZTEST_USER(pdc_api, test_rdo)
{
	uint32_t in, out = 0;

	in = BIT(25) | (BIT_MASK(9) & 0x55);
	zassert_ok(pdc_set_rdo(dev, in));

	k_sleep(K_MSEC(100));
	zassert_ok(pdc_get_rdo(dev, &out));

	k_sleep(K_MSEC(100));
	zassert_equal(in, out);
}

ZTEST_USER(pdc_api, test_set_power_level)
{
	int i;
	enum usb_typec_current_t out;
	enum usb_typec_current_t in[] = {
		TC_CURRENT_USB_DEFAULT,
		TC_CURRENT_1_5A,
		TC_CURRENT_3_0A,
	};

	zassert_equal(pdc_set_power_level(dev, TC_CURRENT_PPM_DEFINED),
		      -EINVAL);

	for (i = 0; i < ARRAY_SIZE(in); i++) {
		zassert_ok(pdc_set_power_level(dev, in[i]));

		k_sleep(K_MSEC(100));
		emul_pdc_get_requested_power_level(emul, &out);
		zassert_equal(in[i], out);
	}
}

ZTEST_USER(pdc_api, test_get_bus_voltage)
{
	uint32_t mv_units = 50;
	uint32_t expected_voltage_mv = 5000;
	uint16_t out = 0;
	struct connector_status_t in;

	in.voltage_scale = 10; /* 50 mv units*/
	in.voltage_reading = expected_voltage_mv / mv_units;
	emul_pdc_set_connector_status(emul, &in);

	zassert_ok(pdc_get_vbus_voltage(dev, &out));
	k_sleep(K_MSEC(100));

	zassert_equal(out, expected_voltage_mv);

	zassert_equal(pdc_get_vbus_voltage(dev, NULL), -EINVAL);
}

ZTEST_USER(pdc_api, test_set_ccom)
{
	int i, j;
	enum ccom_t ccom_in[] = { CCOM_RP, CCOM_RD, CCOM_DRP };
	enum ccom_t ccom_out;
	enum drp_mode_t dm_in[] = { DRP_NORMAL, DRP_TRY_SRC, DRP_TRY_SNK };
	enum drp_mode_t dm_out;

	for (i = 0; i < ARRAY_SIZE(ccom_in); i++) {
		for (j = 0; j < ARRAY_SIZE(dm_in); j++) {
			zassert_ok(pdc_set_ccom(dev, ccom_in[i], dm_in[j]));

			k_sleep(K_MSEC(100));
			zassert_ok(emul_pdc_get_ccom(emul, &ccom_out, &dm_out));
			zassert_equal(ccom_in[i], ccom_out);
			if (ccom_in[i] == CCOM_DRP) {
				zassert_equal(dm_in[j], dm_out);
			}
		}
	}
}

ZTEST_USER(pdc_api, test_set_sink_path)
{
	int i;
	bool in[] = { true, false }, out;

	for (i = 0; i < ARRAY_SIZE(in); i++) {
		zassert_ok(pdc_set_sink_path(dev, in[i]));

		k_sleep(K_MSEC(100));
		zassert_ok(emul_pdc_get_sink_path(emul, &out));

		zassert_equal(in[i], out);
	}
}

ZTEST_USER(pdc_api, test_reconnect)
{
	uint8_t expected, val;

	zassert_ok(pdc_reconnect(dev));

	k_sleep(K_MSEC(100));
	zassert_ok(emul_pdc_get_reconnect_req(emul, &expected, &val));
	zassert_equal(expected, val);
}
```

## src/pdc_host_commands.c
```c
/* Copyright 2024 The ChromiumOS Authors
 * Use of this source code is governed by a BSD-style license that can be
 * found in the LICENSE file.
 */

#include "ec_commands.h"
#include "host_command.h"

#include <string.h>

#include <zephyr/drivers/emul.h>
#include <zephyr/fff.h>
#include <zephyr/ztest.h>

#ifdef TODO_HOST_COMMANDS
ZTEST(pdc_host_commands, test_ec_cmd_pd_chip_info__v0)
{
	struct ec_params_pd_chip_info req = {
		.port = 0,
		.live = 0,
	};
	struct ec_response_pd_chip_info resp = { 0 };

	zassert_ok(ec_cmd_pd_chip_info(NULL, &req, &resp));

	zassert_equal(resp.vendor_id, 0xABCD, "Actual VID: $%04x",
		      resp.vendor_id);
}

ZTEST_SUITE(pdc_host_commands, NULL, NULL, NULL, NULL, NULL);
#endif /* TODO_HOST_COMMANDS */
```

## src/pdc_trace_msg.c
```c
/* Copyright 2024 The ChromiumOS Authors
 * Use of this source code is governed by a BSD-style license that can be
 * found in the LICENSE file.
 */

#include "pdc_trace_msg.h"
#include "util_pcap.h"

#include <stddef.h>
#include <stdint.h>
#include <stdio.h>

#include <zephyr/fff.h>
#include <zephyr/logging/log.h>

#include <drivers/pdc.h>

/*
 * PDC messages are encapsulated in a link header when written to PCAP
 * so consumers have the necessary context info to decode the messages.
 */

struct pdc_trace_header {
	uint8_t port_num;
	uint8_t direction;
	uint8_t msg_type;
};

BUILD_ASSERT(sizeof(struct pdc_trace_header) == 3);

#define LINK_RX 0
#define LINK_TX 1

#define TRACE_PORT 0

FAKE_VOID_FUNC(pdc_trace_msg_req, int, enum pdc_trace_chip_type,
	       const uint8_t *, const int);
FAKE_VOID_FUNC(pdc_trace_msg_resp, int, enum pdc_trace_chip_type,
	       const uint8_t *, const int);

LOG_MODULE_REGISTER(pdc_trace, LOG_LEVEL_INF);

static uint8_t pcap_buf[500];

static void pcap_out(const uint8_t *pcap_buf, size_t buf_len)
{
	static FILE *pcap;

	if (pcap == NULL)
		pcap = pcap_open();

	if (pcap != NULL)
		pcap_append(pcap, pcap_buf, buf_len);
}

static void mock_pdc_trace_msg_req(int port, enum pdc_trace_chip_type msg_type,
				   const uint8_t *buf, const int count)
{
	int pl_size;

	if (port != TRACE_PORT)
		return;

	if (count <= 0)
		return;

	LOG_INF("PDC request: port %d, length %d:", port, count);
	LOG_HEXDUMP_INF(buf, count, "message:");

	const struct pdc_trace_header th = {
		.port_num = TRACE_PORT,
		.direction = LINK_TX,
		.msg_type = msg_type,
	};

	memcpy(pcap_buf, &th, sizeof(th));
	pl_size = MIN(count, sizeof(pcap_buf) - sizeof(th));
	memcpy(&pcap_buf[sizeof(th)], buf, pl_size);

	pcap_out(pcap_buf, sizeof(th) + pl_size);
}

static void mock_pdc_trace_msg_resp(int port, enum pdc_trace_chip_type msg_type,
				    const uint8_t *buf, const int count)
{
	int pl_size;

	if (port != TRACE_PORT)
		return;

	if (count <= 0)
		return;

	LOG_INF("PDC response: port %d, length %d:", port, count);
	LOG_HEXDUMP_INF(buf, count, "message:");

	const struct pdc_trace_header th = {
		.port_num = TRACE_PORT,
		.direction = LINK_RX,
		.msg_type = msg_type,
	};
	memcpy(pcap_buf, &th, sizeof(th));
	pl_size = MIN(count, sizeof(pcap_buf) - sizeof(th));
	memcpy(&pcap_buf[sizeof(th)], buf, pl_size);

	pcap_out(pcap_buf, sizeof(th) + pl_size);
}

void set_pdc_trace_msg_mocks(void)
{
	pdc_trace_msg_req_fake.custom_fake = mock_pdc_trace_msg_req;
	pdc_trace_msg_resp_fake.custom_fake = mock_pdc_trace_msg_resp;
}
```

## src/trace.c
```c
/* Copyright 2024 The ChromiumOS Authors
 * Use of this source code is governed by a BSD-style license that can be
 * found in the LICENSE file.
 */

#include "util_pcap.h"

#include <stddef.h>
#include <stdint.h>
#include <stdio.h>

#include <zephyr/logging/log.h>

#include <drivers/pdc.h>

#define LINK_HDR_SIZE 3
#define LINK_HDR_PORT 0
#define LINK_HDR_DIR 1
#define LINK_HDR_TYPE 2

#define LINK_RX 0
#define LINK_TX 1

#define TRACE_PORT 0

LOG_MODULE_REGISTER(pdc_trace, LOG_LEVEL_INF);

static uint8_t pcap_buf[500];

static void pcap_out(const uint8_t *pcap_buf, size_t buf_len)
{
	static FILE *pcap;

	if (pcap == NULL)
		pcap = pcap_open();

	if (pcap != NULL)
		pcap_append(pcap, pcap_buf, buf_len);
}

void pdc_trace_msg_req(int port, enum pdc_trace_chip_type msg_type,
		       const uint8_t *buf, const int count)
{
	if (port != TRACE_PORT)
		return;

	if (count <= 0)
		return;

	LOG_INF("PDC request: port %d, length %d:", port, count);
	LOG_HEXDUMP_INF(buf, count, "message:");

	pcap_buf[LINK_HDR_PORT] = TRACE_PORT;
	pcap_buf[LINK_HDR_DIR] = LINK_TX;
	pcap_buf[LINK_HDR_TYPE] = msg_type;
	memcpy(&pcap_buf[LINK_HDR_SIZE], buf,
	       MIN(count, sizeof(pcap_buf) - LINK_HDR_SIZE));

	pcap_out(pcap_buf, LINK_HDR_SIZE + count);
}

void pdc_trace_msg_resp(int port, enum pdc_trace_chip_type msg_type,
			const uint8_t *buf, const int count)
{
	if (port != TRACE_PORT)
		return;

	if (count <= 0)
		return;

	LOG_INF("PDC response: port %d, length %d:", port, count);
	LOG_HEXDUMP_INF(buf, count, "message:");

	pcap_buf[LINK_HDR_PORT] = TRACE_PORT;
	pcap_buf[LINK_HDR_DIR] = LINK_RX;
	pcap_buf[LINK_HDR_TYPE] = msg_type;
	memcpy(&pcap_buf[LINK_HDR_SIZE], buf,
	       MIN(count, sizeof(pcap_buf) - LINK_HDR_SIZE));

	pcap_out(pcap_buf, LINK_HDR_SIZE + count);
}
```

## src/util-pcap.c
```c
/* Copyright 2024 The ChromiumOS Authors
 * Use of this source code is governed by a BSD-style license that can be
 * found in the LICENSE file.
 */

#include "timer.h"
#include "util-pcap.h"

#include <stdio.h>
#include <string.h>

#include <zephyr/logging/log.h>

LOG_MODULE_REGISTER(pdc_util_pcap, LOG_LEVEL_INF);

/*
 * Minimal pcap file structures originally from pcap/pcap.h
 */

struct pcap_hdr {
	uint32_t magic_number; /* magic number */
	uint16_t version_major; /* major version number */
	uint16_t version_minor; /* minor version number */
	int32_t thiszone; /* not used - SHOULD be filled with 0 */
	uint32_t sigfigs; /* not used - SHOULD be filled with 0 */
	uint32_t snaplen; /* max length saved portion of each pkt */
	uint32_t linktype; /* data link type (LINKTYPE_*) */
};

struct pcap_pkthdr {
	uint32_t ts_sec; /* time stamp seconds */
	uint32_t ts_usec; /* time stamp microseconds */
	uint32_t caplen; /* length of portion present in data */
	uint32_t len; /* length of this packet prior to any slicing */
};

FILE *pcap_open(void)
{
	static const char pcap_file[] = "rts.pcap";
	FILE *fp;
	struct pcap_hdr hdr;

	fp = fopen(pcap_file, "w");
	if (fp == NULL) {
		LOG_ERR("Could not open pcap file %s\n", pcap_file);
		return NULL;
	}

	memset(&hdr, 0, sizeof(hdr));
	hdr.magic_number = 0xa1b2c3d4; /* timestamp in microseconds */
	hdr.version_major = 2;
	hdr.version_minor = 4;
	hdr.snaplen = 512;
	hdr.linktype = 147; /* DLT_USER0 */

	fwrite(&hdr, sizeof(hdr), 1, fp);

	return fp;
}

void pcap_append(FILE *fp, const void *pl, size_t pl_sz)
{
	struct pcap_pkthdr pkt;
	timestamp_t ts_us = get_time();

	pkt.ts_sec = ts_us.val / SECOND;
	pkt.ts_usec = ts_us.val % SECOND;

	pkt.caplen = pl_sz;
	pkt.len = pl_sz;

	fwrite(&pkt, sizeof(pkt), 1, fp);
	fwrite(pl, pl_sz, 1, fp);
}
```
